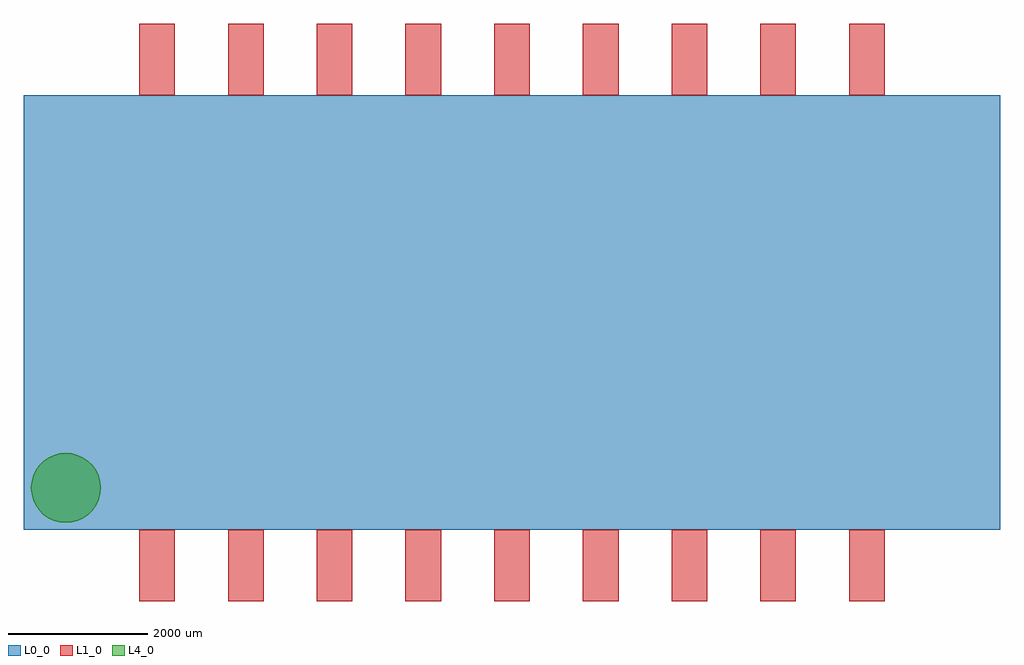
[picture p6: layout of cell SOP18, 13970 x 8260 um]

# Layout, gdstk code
import gdstk
lib = gdstk.Library(unit=1e-6, precision=1e-09)
def R(c, l, rs):  # rectangles x0, y0, x1, y1
    for r in rs: c.add(gdstk.rectangle(r[:2], r[2:], *l))
def A(c, l, x, y, w, h, nx, ny, dx, dy):  # array of equal rectangles
    R(c, l, [(x+i*dx, y+j*dy, x+i*dx+w, y+j*dy+h) for i in range(nx) for j in range(ny)])
def P(c, l, *ps):  # polygons
    for p in ps: c.add(gdstk.Polygon(p, *l))
L0_0 = (0, 0)
L1_0 = (1, 0)
L4_0 = (4, 0)
L99_1 = (99, 1)
L99_2 = (99, 2)
L99_3 = (99, 3)
L99_4 = (99, 4)
L99_5 = (99, 5)
L99_6 = (99, 6)
L99_7 = (99, 7)
L99_8 = (99, 8)
L99_9 = (99, 9)
L99_10 = (99, 10)
L99_11 = (99, 11)
L99_12 = (99, 12)
L99_13 = (99, 13)
L99_14 = (99, 14)
L99_15 = (99, 15)
L99_16 = (99, 16)
L99_17 = (99, 17)
L99_18 = (99, 18)

sop18 = lib.new_cell('SOP18')
R(sop18, L0_0, [(0,0,13970,6220)])
A(sop18, L1_0, 1650, -1020, 510, 1020, 9, 2, 1270, 7240)
P(sop18, L4_0, [(1100,600),(1092.404,513.176),(1069.846,428.99),(1033.013,350),(983.022,278.606),(921.394,216.978),(850,166.987),(771.01,130.154),(686.824,107.596),(600,100),(513.176,107.596),(428.99,130.154),(350,166.987),(278.606,216.978),(216.978,278.606),(166.987,350),(130.154,428.99),(107.596,513.176),(100,600),(107.596,686.824),(130.154,771.01),(166.987,850),(216.978,921.394),(278.606,983.022),(350,1033.013),(428.99,1069.846),(513.176,1092.404),(600,1100),(686.824,1092.404),(771.01,1069.846),(850,1033.013),(921.394,983.022),(983.022,921.394),(1033.013,850),(1069.846,771.01),(1092.404,686.824)])
sop18.add(gdstk.FlexPath([(2160,0),(1650,0)], 0, ends="round", simple_path=True, layer=99, datatype=1))  # L99_1
sop18.add(gdstk.FlexPath([(3430,0),(2920,0)], 0, ends="round", simple_path=True, layer=99, datatype=2))  # L99_2
sop18.add(gdstk.FlexPath([(4700,0),(4190,0)], 0, ends="round", simple_path=True, layer=99, datatype=3))  # L99_3
sop18.add(gdstk.FlexPath([(5970,0),(5460,0)], 0, ends="round", simple_path=True, layer=99, datatype=4))  # L99_4
sop18.add(gdstk.FlexPath([(7240,0),(6730,0)], 0, ends="round", simple_path=True, layer=99, datatype=5))  # L99_5
sop18.add(gdstk.FlexPath([(8510,0),(8000,0)], 0, ends="round", simple_path=True, layer=99, datatype=6))  # L99_6
sop18.add(gdstk.FlexPath([(9780,0),(9270,0)], 0, ends="round", simple_path=True, layer=99, datatype=7))  # L99_7
sop18.add(gdstk.FlexPath([(11050,0),(10540,0)], 0, ends="round", simple_path=True, layer=99, datatype=8))  # L99_8
sop18.add(gdstk.FlexPath([(12320,0),(11810,0)], 0, ends="round", simple_path=True, layer=99, datatype=9))  # L99_9
sop18.add(gdstk.FlexPath([(1650,6220),(2160,6220)], 0, ends="round", simple_path=True, layer=99, datatype=18))  # L99_18
sop18.add(gdstk.FlexPath([(2920,6220),(3430,6220)], 0, ends="round", simple_path=True, layer=99, datatype=17))  # L99_17
sop18.add(gdstk.FlexPath([(4190,6220),(4700,6220)], 0, ends="round", simple_path=True, layer=99, datatype=16))  # L99_16
sop18.add(gdstk.FlexPath([(5460,6220),(5970,6220)], 0, ends="round", simple_path=True, layer=99, datatype=15))  # L99_15
sop18.add(gdstk.FlexPath([(6730,6220),(7240,6220)], 0, ends="round", simple_path=True, layer=99, datatype=14))  # L99_14
sop18.add(gdstk.FlexPath([(8000,6220),(8510,6220)], 0, ends="round", simple_path=True, layer=99, datatype=13))  # L99_13
sop18.add(gdstk.FlexPath([(9270,6220),(9780,6220)], 0, ends="round", simple_path=True, layer=99, datatype=12))  # L99_12
sop18.add(gdstk.FlexPath([(10540,6220),(11050,6220)], 0, ends="round", simple_path=True, layer=99, datatype=11))  # L99_11
sop18.add(gdstk.FlexPath([(11810,6220),(12320,6220)], 0, ends="round", simple_path=True, layer=99, datatype=10))  # L99_10

lib.write_gds('SOP18.gds')
